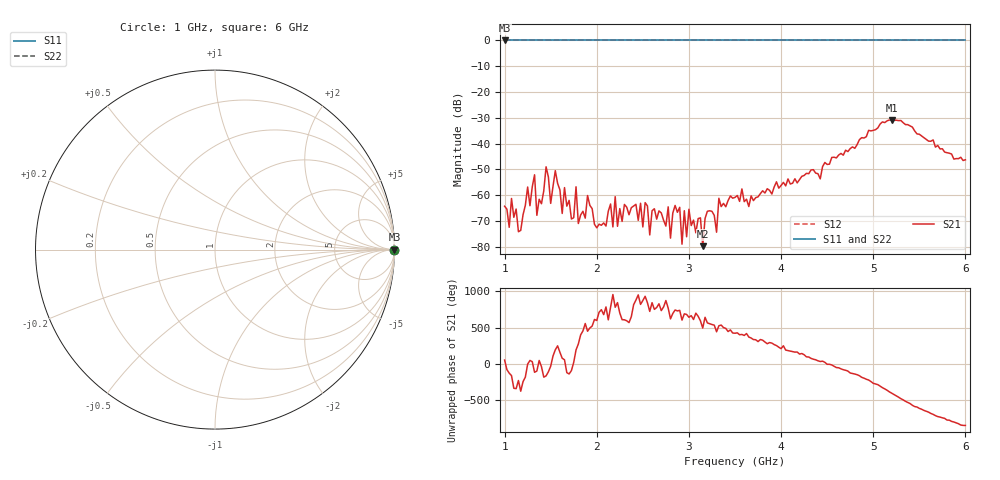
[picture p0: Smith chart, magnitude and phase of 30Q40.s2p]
!Keysight Technologies N9926A: A.08.19
!Date: Sunday, 01 March 2026 14:10:16
!Timezone: (GMT-06:00) Central Time (US & Canada)
!Model: N9926A
!Serial: MY53102721
!GPS Latitude:
!GPS Longitude:
!GPS TimeStamp: 0001-01-01 00:00:00Z
!GPS Seconds Since Last Read: 0
!CHECKSUM:0764345565
!Correction: S11()S21(ON U)S12()S22()
!S2P File: Measurements:S11,S21,S12,S22:
# Hz S DB R 50
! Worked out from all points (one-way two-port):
!   201 points, 1 GHz to 6 GHz, reference 50 ohm
!   highest |S21| = -30.83 dB at 5.2 GHz (marker M1); lowest = -79.7 dB at 3.15 GHz (marker M2)
!   lowest |S11| = 0.0 dB at 1 GHz (marker M3)
!   |S11| at or under -10 dB: nowhere
!   |S22| runs from 0.0 to 0.0 dB; largest |S21 - S12| = 1
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1e9  0.00 0.0  -64.25 53.8  0.00 0.0  0.00 0.0
1.175e9  0.00 0.0  -73.63 -14.4  0.00 0.0  0.00 0.0
1.325e9  0.00 0.0  -52.08 -114.0  0.00 0.0  0.00 0.0
1.35e9  0.00 0.0  -67.79 -97.0  0.00 0.0  0.00 0.0
1.45e9  0.00 0.0  -48.99 -163.7  0.00 0.0  0.00 0.0
1.5e9  0.00 0.0  -63.16 -30.9  0.00 0.0  0.00 0.0
1.55e9  0.00 0.0  -50.48 -165.4  0.00 0.0  0.00 0.0
1.625e9  0.00 0.0  -67.06 78.9  0.00 0.0  0.00 0.0
1.85e9  0.00 0.0  -66.24 94.6  0.00 0.0  0.00 0.0
2.675e9  0.00 0.0  -66.07 107.4  0.00 0.0  0.00 0.0
2.8e9  0.00 0.0  -76.63 -100.1  0.00 0.0  0.00 0.0
2.9e9  0.00 0.0  -64.68 17.3  0.00 0.0  0.00 0.0
2.925e9  0.00 0.0  -78.98 -117.1  0.00 0.0  0.00 0.0
2.95e9  0.00 0.0  -66.01 -30.8  0.00 0.0  0.00 0.0
3.125e9  0.00 0.0  -68.77 -127.3  0.00 0.0  0.00 0.0
3.15e9  0.00 0.0  -79.75 134.1  0.00 0.0  0.00 0.0
3.2e9  0.00 0.0  -66.22 -155.1  0.00 0.0  0.00 0.0
3.5e9  0.00 0.0  -60.84 62.6  0.00 0.0  0.00 0.0
4.35e9  0.00 0.0  -50.09 65.5  0.00 0.0  0.00 0.0
5.175e9  0.00 0.0  -30.84 -22.8  0.00 0.0  0.00 0.0
5.2e9  0.00 0.0  -30.83 -41.2  0.00 0.0  0.00 0.0
6e9  0.00 0.0  -46.26 -125.0  0.00 0.0  0.00 0.0
